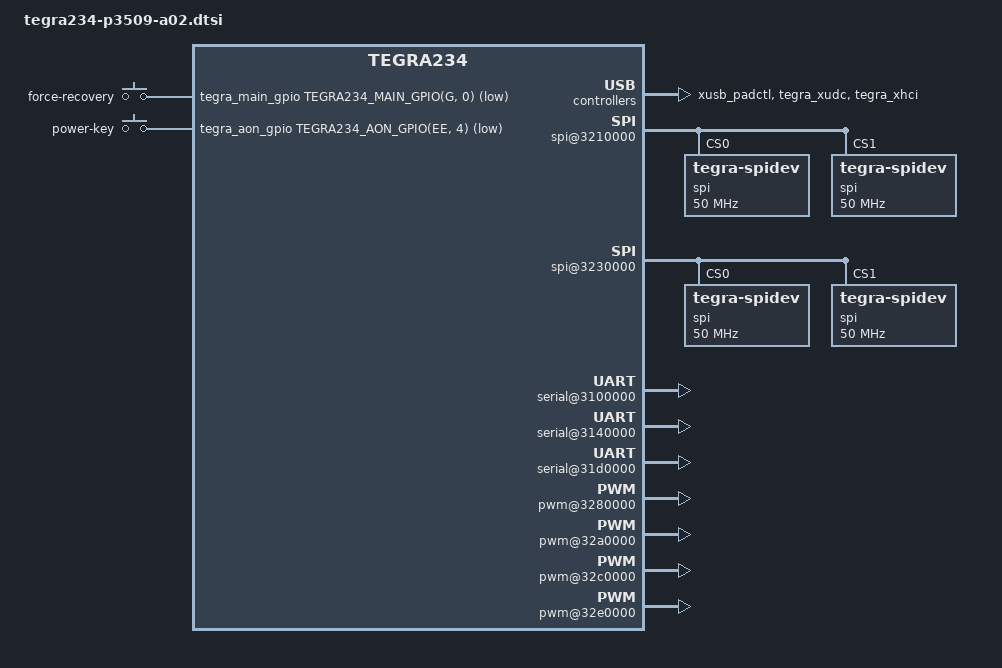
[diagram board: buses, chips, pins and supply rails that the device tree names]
/*
 * Copyright (c) 2022-2023, NVIDIA CORPORATION.  All rights reserved.
 *
 * This program is free software; you can redistribute it and/or modify
 * it under the terms of the GNU General Public License as published by
 * the Free Software Foundation; version 2 of the License.
 *
 * This program is distributed in the hope that it will be useful, but WITHOUT
 * ANY WARRANTY; without even the implied warranty of MERCHANTABILITY or
 * FITNESS FOR A PARTICULAR PURPOSE.  See the GNU General Public License for
 * more details.
 */
#include <dt-bindings/gpio/tegra234-gpio.h>
#include "dt-bindings/input/input.h"
#include "tegra234-p3509-a02-pwm-fan.dtsi"
#include "tegra234-p3509-a02-pcie.dtsi"
#include "tegra234-p3509-a02-fixed-regulator.dtsi"
#include "tegra234-p3509-audio.dtsi"
#include "tegra234-p3768-camera-rbpcv3-imx477.dtsi"
#include "tegra234-p3768-camera-rbpcv2-imx219.dtsi"
#include "tegra234-p3768-camera-avt-csi2.dtsi"

/ {
	gpio-keys {
		compatible = "gpio-keys";
		gpio-keys,name = "gpio-keys";
		status = "okay";

		forcerecovery {
			label = "force-recovery";
			gpios = <&tegra_main_gpio TEGRA234_MAIN_GPIO(G, 0) GPIO_ACTIVE_LOW>;
			linux,code = <BTN_1>;
		};

		power_key {
			label = "power-key";
			gpios = <&tegra_aon_gpio TEGRA234_AON_GPIO(EE, 4) GPIO_ACTIVE_LOW>;
			linux,code = <KEY_POWER>;
			gpio-key,wakeup;
		};
	};

	eeprom-manager {
		data-size = <0x100>;
		bus@0 {
			i2c-bus = <&gen1_i2c>;
			eeprom@1 {
				slave-address = <0x57>;
				label = "cvb";
			};
		};

		bus@1 {
			i2c-bus = <&gen2_i2c>;
			eeprom@1 {
				slave-address = <0x50>;
				label = "super-module";
			};
		};
	};

	xusb_padctl: xusb_padctl@3520000 {
		status = "okay";
		pads {
			usb2 {
				lanes {
					usb2-0 {
						nvidia,function = "xusb";
						status = "okay";
					};
					usb2-1 {
						nvidia,function = "xusb";
						status = "okay";
					};
					usb2-2 {
						nvidia,function = "xusb";
						status = "okay";
					};
				};
			};
			usb3 {
				lanes {
					usb3-0 {
						nvidia,function = "xusb";
						status = "okay";
					};
				};
			};
		};

		ports {
			usb2-0 {
				mode = "otg";
				status = "okay";
                                vbus-supply = <&p3509_vdd_5v_sys>;
#if TEGRA_XUSB_DT_VERSION >= DT_VERSION_3
				usb-role-switch;
				connector {
					compatible = "usb-b-connector", "gpio-usb-b-connector";
 					label = "micro-USB";
 					type = "micro";
 					vbus-gpio = <&tegra_main_gpio TEGRA234_MAIN_GPIO(Z, 1) GPIO_ACTIVE_LOW>;
 				};
#endif
			};
			usb2-1 {
				mode = "host";
                                vbus-supply = <&p3509_vdd_av10_hub>;
				status = "okay";
			};
			usb2-2 {/* Goes to M2.E */
				mode = "host";
                                vbus-supply = <&p3509_vdd_5v_sys>;
				status = "okay";
			};
			usb3-0 {
				nvidia,usb2-companion = <1>;
				status = "okay";
			};
		};
	};

	tegra_xudc: xudc@3550000 {
		status = "okay";
		phys = <&{/xusb_padctl@3520000/pads/usb2/lanes/usb2-0}>;
		phy-names = "usb2-0";
		nvidia,xusb-padctl = <&xusb_padctl>;
	};

	tegra_xhci: xhci@3610000 {
		status = "okay";
		phys = <&{/xusb_padctl@3520000/pads/usb2/lanes/usb2-1}>,
			<&{/xusb_padctl@3520000/pads/usb2/lanes/usb2-2}>,
			<&{/xusb_padctl@3520000/pads/usb3/lanes/usb3-0}>;
		phy-names = "usb2-1", "usb2-2", "usb3-0";
		nvidia,xusb-padctl = <&xusb_padctl>;
	};

	spi@3210000{ /* SPI1 in 40 pin conn */
		status = "okay";
		spi@0 { /* chip select 0 */
			compatible = "tegra-spidev";
			reg = <0x0>;
			spi-max-frequency = <50000000>;
			controller-data {
				nvidia,enable-hw-based-cs;
				nvidia,rx-clk-tap-delay = <0x10>;
				nvidia,tx-clk-tap-delay = <0x0>;
			};
		};
		spi@1 { /* chip select 1 */
			compatible = "tegra-spidev";
			reg = <0x1>;
			spi-max-frequency = <50000000>;
			controller-data {
				nvidia,enable-hw-based-cs;
				nvidia,rx-clk-tap-delay = <0x10>;
				nvidia,tx-clk-tap-delay = <0x0>;
			};
		};
	};

	spi@3230000{ /* SPI3 in 40 pin conn */
		status = "okay";
		spi@0 { /* chip select 0 */
			compatible = "tegra-spidev";
			reg = <0x0>;
			spi-max-frequency = <50000000>;
			controller-data {
				nvidia,enable-hw-based-cs;
				nvidia,rx-clk-tap-delay = <0x10>;
				nvidia,tx-clk-tap-delay = <0x0>;
			};
		};
		spi@1 { /* chips select 1 */
			compatible = "tegra-spidev";
			reg = <0x1>;
			spi-max-frequency = <50000000>;
			controller-data {
				nvidia,enable-hw-based-cs;
				nvidia,rx-clk-tap-delay = <0x10>;
				nvidia,tx-clk-tap-delay = <0x0>;
			};
		};
	};

	serial@3100000 {/* UARTA, for 40 pin header */
		status = "okay";
	};

	mttcan@c310000 {
		status = "okay";
	};

	serial@3140000 {
		/* UARTE, Goes to M2.E and also some of the pins to bootstrap */
		status = "okay";
	};

	serial@31d0000 {/* UARTI - SBSA */
		status = "okay";
	};

	tachometer@39c0000 {
		status = "okay";
		upper-threshold = <0xfffff>;
		lower-threshold = <0x0>;
	};

	pwm@3280000 {/* PWM1 40pin header, pin 15 */
		status = "okay";
	};

	pwm@32a0000 {/* PWM3 - FAN */
		status = "okay";
	};

	pwm@c340000 { /* PWM4 - OVR */
		status = "disabled";
	};

	pwm@32c0000 {/* PWM5 40 pin header, pin 33 */
		status = "okay";
	};

	pwm@32d0000 {/* PWM6 OVR */
		status = "disabled";
	};

	pwm@32e0000 {/* PWM7 - 40pin header, pin 32 */
		status = "okay";
	};

	bluedroid_pm {
		status = "disabled";
	};

	display@13800000 {
		status = "okay";
		os_gpio_hotplug_a = <&tegra_main_gpio TEGRA234_MAIN_GPIO(M, 0) GPIO_ACTIVE_HIGH>;
	};
};
